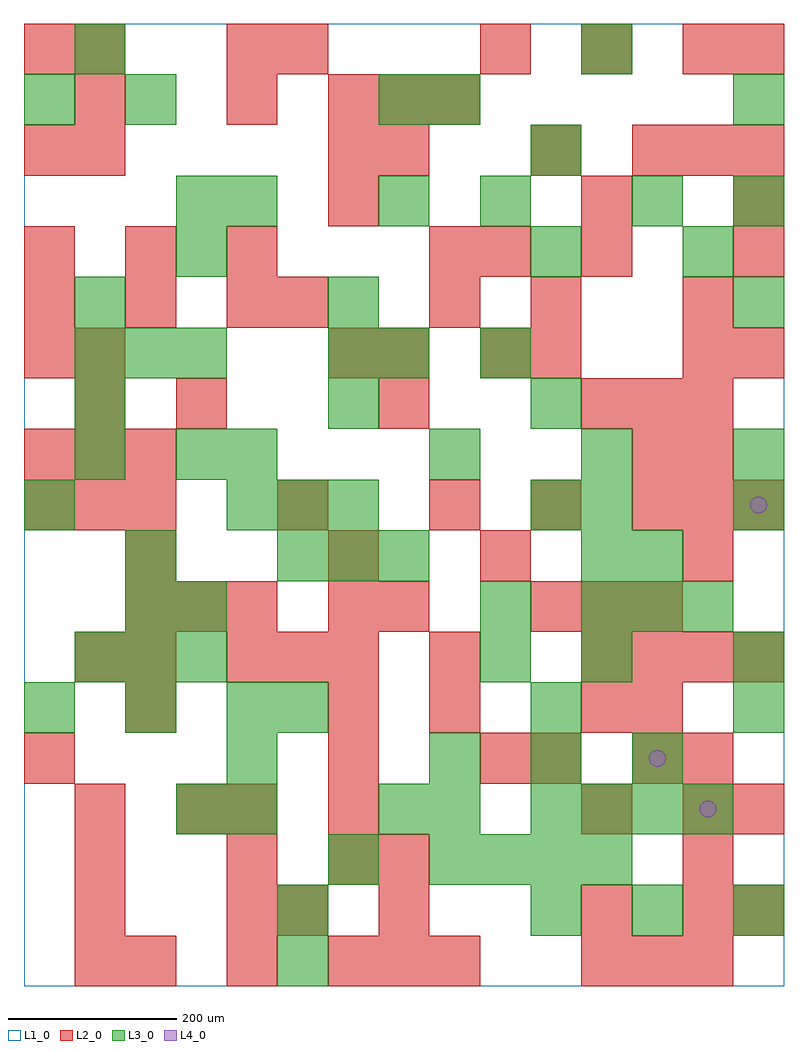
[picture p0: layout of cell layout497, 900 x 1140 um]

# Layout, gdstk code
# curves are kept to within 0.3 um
import gdstk
lib = gdstk.Library(unit=1e-6, precision=1e-09)
def R(c, l, rs):  # rectangles x0, y0, x1, y1
    for r in rs: c.add(gdstk.rectangle(r[:2], r[2:], *l))
def A(c, l, x, y, w, h, nx, ny, dx, dy):  # array of equal rectangles
    R(c, l, [(x+i*dx, y+j*dy, x+i*dx+w, y+j*dy+h) for i in range(nx) for j in range(ny)])
def P(c, l, *ps):  # polygons
    for p in ps: c.add(gdstk.Polygon(p, *l))
L1_0 = (1, 0)
L2_0 = (2, 0)
L3_0 = (3, 0)
L4_0 = (4, 0)

layout497 = lib.new_cell('layout497')
R(layout497, L1_0, [(0,0,900,1140)])
A(layout497, L2_0, 60, 0, 60, 60, 1, 4, 0, 60)
A(layout497, L2_0, 120, 0, 60, 60, 3, 1, 120, 0)
A(layout497, L2_0, 420, 0, 60, 60, 1, 3, 0, 60)
A(layout497, L2_0, 660, 0, 60, 60, 3, 1, 60, 0)
A(layout497, L2_0, 240, 60, 60, 60, 1, 3, 0, 60)
A(layout497, L2_0, 660, 60, 60, 60, 1, 3, 0, 120)
A(layout497, L2_0, 780, 60, 60, 60, 1, 4, 0, 60)
A(layout497, L2_0, 360, 120, 60, 60, 1, 4, 0, 60)
A(layout497, L2_0, 540, 240, 60, 60, 1, 3, 0, 240)
A(layout497, L2_0, 240, 360, 60, 60, 3, 1, 60, 0)
A(layout497, L2_0, 660, 360, 60, 60, 4, 1, 60, 0)
A(layout497, L2_0, 120, 420, 60, 60, 3, 1, 60, 0)
A(layout497, L2_0, 600, 420, 60, 60, 3, 1, 60, 0)
A(layout497, L2_0, 780, 480, 60, 60, 1, 6, 0, 60)
A(layout497, L2_0, 0, 540, 60, 60, 3, 2, 60, 60)
A(layout497, L2_0, 480, 540, 60, 60, 3, 1, 120, 0)
A(layout497, L2_0, 180, 660, 60, 60, 3, 1, 240, 0)
A(layout497, L2_0, 0, 780, 60, 60, 3, 2, 120, 60)
A(layout497, L2_0, 60, 960, 60, 60, 1, 3, 0, 60)
A(layout497, L2_0, 720, 960, 60, 60, 3, 1, 60, 0)
A(layout497, L2_0, 360, 1020, 60, 60, 3, 1, 60, 0)
A(layout497, L2_0, 540, 1080, 60, 60, 3, 1, 120, 0)
R(layout497, L2_0, [(480,0,540,60), (300,60,360,120), (840,60,900,120), (180,180,240,240), (840,180,900,240), (0,240,60,300), (600,240,660,300), (720,240,780,300), (120,300,180,360), (480,300,540,360), (720,300,780,360), (60,360,120,420), (120,360,180,420), (480,360,540,420), (360,420,420,480), (420,420,480,480), (120,480,180,540), (360,480,420,540), (300,540,360,600), (840,540,900,600), (720,600,780,660), (60,660,120,720), (720,660,780,720), (0,720,60,780), (60,720,120,780), (360,720,420,780), (420,720,480,780), (600,720,660,780), (840,720,900,780), (300,780,360,840), (480,780,540,840), (600,780,660,840), (480,840,540,900), (540,840,600,900), (660,840,720,900), (840,840,900,900), (360,900,420,960), (660,900,720,960), (840,900,900,960), (0,960,60,1020), (360,960,420,1020), (420,960,480,1020), (600,960,660,1020), (240,1020,300,1080), (0,1080,60,1140), (240,1080,300,1140), (300,1080,360,1140), (840,1080,900,1140)])
A(layout497, L3_0, 600, 60, 60, 60, 3, 1, 120, 0)
A(layout497, L3_0, 480, 120, 60, 60, 4, 1, 60, 0)
A(layout497, L3_0, 600, 180, 60, 60, 4, 1, 60, 0)
A(layout497, L3_0, 480, 240, 60, 60, 3, 1, 120, 0)
A(layout497, L3_0, 0, 300, 60, 60, 3, 1, 120, 0)
A(layout497, L3_0, 60, 360, 60, 60, 3, 2, 60, 360)
A(layout497, L3_0, 660, 420, 60, 60, 3, 1, 60, 0)
A(layout497, L3_0, 300, 480, 60, 60, 3, 1, 60, 0)
A(layout497, L3_0, 240, 540, 60, 60, 3, 1, 60, 0)
A(layout497, L3_0, 480, 600, 60, 60, 3, 1, 180, 0)
A(layout497, L3_0, 360, 660, 60, 60, 1, 3, 0, 60)
A(layout497, L3_0, 840, 780, 60, 60, 1, 3, 0, 120)
R(layout497, L3_0, [(300,0,360,60), (300,60,360,120), (360,120,420,180), (180,180,240,240), (240,180,300,240), (420,180,480,240), (480,180,540,240), (240,240,300,300), (300,300,360,360), (600,300,660,360), (840,300,900,360), (540,360,600,420), (660,360,720,420), (840,360,900,420), (120,420,180,480), (180,420,240,480), (540,420,600,480), (120,480,180,540), (660,480,720,540), (720,480,780,540), (0,540,60,600), (600,540,660,600), (660,540,720,600), (840,540,900,600), (60,600,120,660), (180,600,240,660), (240,600,300,660), (60,660,120,720), (600,660,660,720), (420,720,480,780), (540,720,600,780), (60,780,120,840), (180,840,240,900), (600,840,660,900), (780,840,840,900), (180,900,240,960), (240,900,300,960), (420,900,480,960), (540,900,600,960), (720,900,780,960), (600,960,660,1020), (0,1020,60,1080), (120,1020,180,1080), (420,1020,480,1080), (480,1020,540,1080), (60,1080,120,1140), (660,1080,720,1140)])
P(layout497, L4_0, [(760,270),(759.239,273.827),(757.071,277.071),(753.827,279.239),(750,280),(746.173,279.239),(742.929,277.071),(740.761,273.827),(740,270),(740.761,266.173),(742.929,262.929),(746.173,260.761),(750,260),(753.827,260.761),(757.071,262.929),(759.239,266.173)],
  [(820,210),(819.239,213.827),(817.071,217.071),(813.827,219.239),(810,220),(806.173,219.239),(802.929,217.071),(800.761,213.827),(800,210),(800.761,206.173),(802.929,202.929),(806.173,200.761),(810,200),(813.827,200.761),(817.071,202.929),(819.239,206.173)],
  [(880,570),(879.239,573.827),(877.071,577.071),(873.827,579.239),(870,580),(866.173,579.239),(862.929,577.071),(860.761,573.827),(860,570),(860.761,566.173),(862.929,562.929),(866.173,560.761),(870,560),(873.827,560.761),(877.071,562.929),(879.239,566.173)])

lib.write_gds('layout497.gds')
